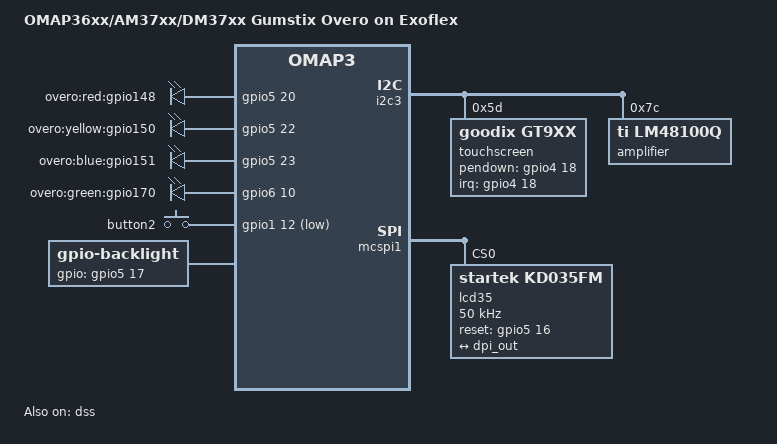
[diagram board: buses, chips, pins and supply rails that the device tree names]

/*
 * Exoflex Expansion Board with Overo Storm
 */

/dts-v1/;

#include "omap3-overo-storm.dtsi"
#include "omap3-overo-common-peripherals.dtsi"

#include <dt-bindings/input/input.h>

/ {
	model = "OMAP36xx/AM37xx/DM37xx Gumstix Overo on Exoflex";
	compatible = "gumstix,omap3-overo-alto35", "gumstix,omap3-overo", "ti,omap36xx", "ti,omap3";
};

/ {
	leds {
		compatible = "gpio-leds";
		pinctrl-names = "default";
		pinctrl-0 = <&led_pins>;
		gpio148 {
			label = "overo:red:gpio148";
			gpios = <&gpio5 20 GPIO_ACTIVE_HIGH>;		/* gpio 148 */
		};
		gpio150 {
			label = "overo:yellow:gpio150";
			gpios = <&gpio5 22 GPIO_ACTIVE_HIGH>;		/* gpio 150 */
		};
		gpio151 {
			label = "overo:blue:gpio151";
			gpios = <&gpio5 23 GPIO_ACTIVE_HIGH>;		/* gpio 151 */
		};
		gpio170 {
			label = "overo:green:gpio170";
			gpios = <&gpio6 10 GPIO_ACTIVE_HIGH>;		/* gpio 170 */
		};
	};

	gpio_keys {
		compatible = "gpio-keys";
		#address-cells = <1>;
		#size-cells = <0>;
		pinctrl-names = "default";
		pinctrl-0 = <&button_core2_pins>;
		button2@12 {
			label = "button2";
			linux,code = <BTN_2>;
			gpios = <&gpio1 12 GPIO_ACTIVE_LOW>;		/* gpio_12 */
			gpio-key,wakeup;
		};
	};
};

&omap3_pmx_core {
	led_pins: pinmux_led_pins {
		pinctrl-single,pins = <
			OMAP3_CORE1_IOPAD(0x217c, PIN_OUTPUT | MUX_MODE4)	/* uart1_tx.gpio_148 */
			OMAP3_CORE1_IOPAD(0x2180, PIN_OUTPUT | MUX_MODE4)	/* uart1_cts.gpio_150 */
			OMAP3_CORE1_IOPAD(0x2182, PIN_OUTPUT | MUX_MODE4)	/* uart1_rx.gpio_151 */
			OMAP3_CORE1_IOPAD(0x21c6, PIN_OUTPUT | MUX_MODE4)	/* hdq_sio.gpio_170 */
		>;
	};
};

&omap3_pmx_wkup {
	button_pins: pinmux_button_pins {
		pinctrl-single,pins = <
			OMAP3_WKUP_IOPAD(0x2a18, PIN_INPUT | MUX_MODE4)		/* sys_clkout1.gpio_10 */
		>;
	};
};

&usbhshost {
	status = "disabled";
};





/*
 * 4.3'' LCD panel output for some Gumstix Overo boards (Gallop43, Chestnut43)
 */

&omap3_pmx_core {
	dss_dpi_pins: pinmux_dss_dpi_pins {
		pinctrl-single,pins = <
			OMAP3_CORE1_IOPAD(0x20d4, PIN_OUTPUT | MUX_MODE0)	/* dss_pclk.dss_pclk */
			OMAP3_CORE1_IOPAD(0x20d6, PIN_OUTPUT | MUX_MODE0)	/* dss_hsync.dss_hsync */
			OMAP3_CORE1_IOPAD(0x20d8, PIN_OUTPUT | MUX_MODE0)	/* dss_vsync.dss_vsync */
			OMAP3_CORE1_IOPAD(0x20da, PIN_OUTPUT | MUX_MODE0)	/* dss_acbias.dss_acbias */
			OMAP3_CORE1_IOPAD(0x20dc, PIN_OUTPUT | MUX_MODE0)	/* dss_data0.dss_data0 */
			OMAP3_CORE1_IOPAD(0x20de, PIN_OUTPUT | MUX_MODE0)	/* dss_data1.dss_data1 */
			OMAP3_CORE1_IOPAD(0x20e0, PIN_OUTPUT | MUX_MODE0)	/* dss_data2.dss_data2 */
			OMAP3_CORE1_IOPAD(0x20e2, PIN_OUTPUT | MUX_MODE0)	/* dss_data3.dss_data3 */
			OMAP3_CORE1_IOPAD(0x20e4, PIN_OUTPUT | MUX_MODE0)	/* dss_data4.dss_data4 */
			OMAP3_CORE1_IOPAD(0x20e6, PIN_OUTPUT | MUX_MODE0)	/* dss_data5.dss_data5 */
			OMAP3_CORE1_IOPAD(0x20e8, PIN_OUTPUT | MUX_MODE0)	/* dss_data6.dss_data6 */
			OMAP3_CORE1_IOPAD(0x20ea, PIN_OUTPUT | MUX_MODE0)	/* dss_data7.dss_data7 */
			OMAP3_CORE1_IOPAD(0x20ec, PIN_OUTPUT | MUX_MODE0)	/* dss_data8.dss_data8 */
			OMAP3_CORE1_IOPAD(0x20ee, PIN_OUTPUT | MUX_MODE0)	/* dss_data9.dss_data9 */
			OMAP3_CORE1_IOPAD(0x20f0, PIN_OUTPUT | MUX_MODE0)	/* dss_data10.dss_data10 */
			OMAP3_CORE1_IOPAD(0x20f2, PIN_OUTPUT | MUX_MODE0)	/* dss_data11.dss_data11 */
			OMAP3_CORE1_IOPAD(0x20f4, PIN_OUTPUT | MUX_MODE0)	/* dss_data12.dss_data12 */
			OMAP3_CORE1_IOPAD(0x20f6, PIN_OUTPUT | MUX_MODE0)	/* dss_data13.dss_data13 */
			OMAP3_CORE1_IOPAD(0x20f8, PIN_OUTPUT | MUX_MODE0)	/* dss_data14.dss_data14 */
			OMAP3_CORE1_IOPAD(0x20fa, PIN_OUTPUT | MUX_MODE0)	/* dss_data15.dss_data15 */
			OMAP3_CORE1_IOPAD(0x20fc, PIN_OUTPUT | MUX_MODE0)	/* dss_data16.dss_data16 */
			OMAP3_CORE1_IOPAD(0x20fe, PIN_OUTPUT | MUX_MODE0)	/* dss_data17.dss_data17 */
			OMAP3_CORE1_IOPAD(0x2100, PIN_OUTPUT | MUX_MODE0)	/* dss_data18.dss_data18 */
			OMAP3_CORE1_IOPAD(0x2102, PIN_OUTPUT | MUX_MODE0)	/* dss_data19.dss_data19 */
			OMAP3_CORE1_IOPAD(0x2104, PIN_OUTPUT | MUX_MODE0)	/* dss_data20.dss_data20 */
			OMAP3_CORE1_IOPAD(0x2106, PIN_OUTPUT | MUX_MODE0)	/* dss_data21.dss_data21 */
			OMAP3_CORE1_IOPAD(0x2108, PIN_OUTPUT | MUX_MODE0)	/* dss_data22.dss_data22 */
			OMAP3_CORE1_IOPAD(0x210a, PIN_OUTPUT | MUX_MODE0)	/* dss_data23.dss_data23 */
		>;
	};

	kd035fm_pins: pinmux_kd035fm_pins {
		pinctrl-single,pins = <
			OMAP3_CORE1_IOPAD(0x2174, PIN_OUTPUT | MUX_MODE4)	/* uart2_cts.gpio_144 */
		>;
	};

	backlight_pins: pinmux_backlight_pins {
		pinctrl-single,pins = <
			OMAP3_CORE1_IOPAD(0x2176, PIN_OUTPUT | MUX_MODE4)	/* uart2_rts.gpio_145 */
		>;
	};

	mcspi1_pins: pinmux_mcspi1_pins {
		pinctrl-single,pins = <
			OMAP3_CORE1_IOPAD(0x21c8, PIN_INPUT | MUX_MODE0)	/* mcspi1_clk.mcspi1_clk */
			OMAP3_CORE1_IOPAD(0x21ca, PIN_INPUT | MUX_MODE0)	/* mcspi1_simo.mcspi1_simo */
			OMAP3_CORE1_IOPAD(0x21cc, PIN_INPUT | MUX_MODE0)	/* mcspi1_somi.mcspi1_somi */
			OMAP3_CORE1_IOPAD(0x21ce, PIN_INPUT | MUX_MODE0)	/* mcspi1_cs0.mcspi1_cs0 */
			OMAP3_CORE1_IOPAD(0x21d0, PIN_INPUT | MUX_MODE0)	/* mcspi1_cs1.mcspi1_cs1 */
		>;
	};

	gt9xx_core_pins: pinmux_gt9xx_core_pins {
		pinctrl-single,pins = <
			OMAP3_CORE1_IOPAD(0x2138, PIN_INPUT_PULLDOWN | MUX_MODE4)	/* csi2_dx1.gpio_114 */
		>;
	};

};


&omap3_pmx_core2 {
	gt9xx_core2_pins: pinmux_gt9xx_core2_pins {
		pinctrl-single,pins = <
			OMAP3630_CORE2_IOPAD(0x25e8, PIN_OUTPUT | MUX_MODE4)  /* etk_d6.gpio_20 */
		>;
	};

	button_core2_pins: pinmux_button_core2_pins {
		pinctrl-single,pins = <
			OMAP3630_CORE2_IOPAD(0x25d8, PIN_INPUT | MUX_MODE4)		/* etk_clk.gpio_12 */
		>;
	};
};

/* Needed to power the DPI pins */
&vpll2 {
	regulator-always-on;
};

&dss {
	status = "ok";

	pinctrl-names = "default";
	pinctrl-0 = <&dss_dpi_pins>;

	port {
		dpi_out: endpoint {
			remote-endpoint = <&lcd_in>;
			data-lines = <18>;
		};
	};
};

/ {
	aliases {
		display0 = &lcd0;
	};

	backlight {
		compatible = "gpio-backlight";
		
		pinctrl-names = "default";
		pinctrl-0 = <&backlight_pins>;
		gpios = <&gpio5 17 GPIO_ACTIVE_HIGH>;		/* gpio_145 */

		default-on;
	};
};

&i2c3 {
	touchscreen: gt9xx@5d {
		compatible = "goodix,gt9xx";
		reg = <0x5d>;
		pinctrl-names = "default";
		pinctrl-0 = <&gt9xx_core_pins &gt9xx_core2_pins>;

		interrupt-parent = <&gpio4>;
		interrupts = <18 0>;			/* gpio_114 */
		pendown-gpio = <&gpio4 18 0>;
	};

	amplifier: lm48100q@7c {
		compatible = "ti,lm48100q";
		reg = <0x7c>;
	};
};

&mcspi1 {
	pinctrl-names = "default";
	pinctrl-0 = <&mcspi1_pins>;

	lcd0: display@0 {
		compatible = "startek,kd035fm";
		label = "lcd35";

		reg = <0>;					/* CS0 */
		spi-max-frequency = <50000>;
		spi-cpol;
		spi-cpha;

		pinctrl-names = "default";
		pinctrl-0 = <&kd035fm_pins>;
		reset-gpios = <&gpio5 16 GPIO_ACTIVE_HIGH>;	/* gpio_144 */

		port {
			lcd_in: endpoint {
				remote-endpoint = <&dpi_out>;
			};
		};
	};
};
